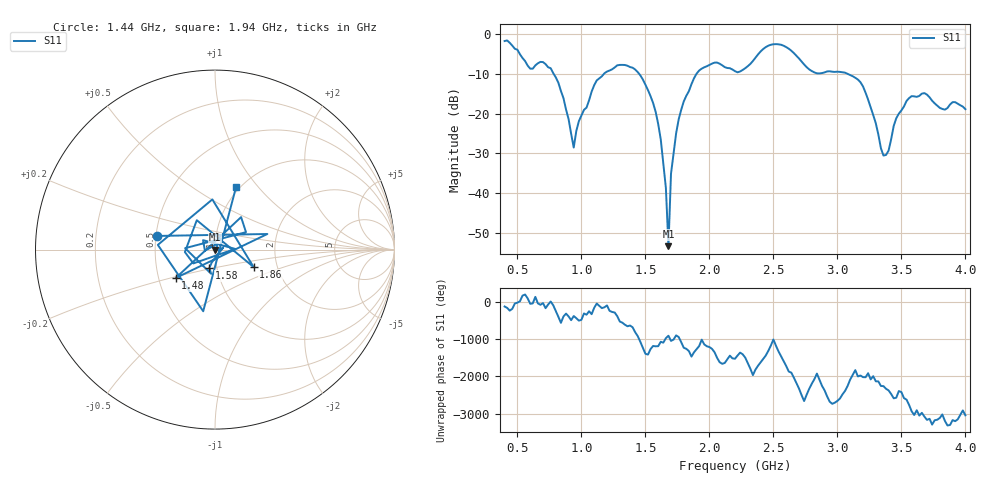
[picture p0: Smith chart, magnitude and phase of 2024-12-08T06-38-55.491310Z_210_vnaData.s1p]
!Created with skrf (http://scikit-rf.org).
# Hz S RI R 50.0
!freq ReS11 ImS11
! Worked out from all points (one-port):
!   181 points, 400 MHz to 4 GHz, reference 50 ohm
!   lowest |S11| = -53.4 dB at 1.68 GHz (marker M1), VSWR 1.00, Z = 49.8 + j0.00814 ohm
!   |S11| at or under -10 dB: 783.9 MHz to 1.175 GHz (391.4 MHz wide, 40 % of centre); 1.452 GHz to 1.898 GHz (446.7 MHz wide, 26.7 % of centre); 3.082 GHz to end of sweep
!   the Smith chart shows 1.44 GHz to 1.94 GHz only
!   S11 on the Smith chart (normalised r, x): 1.44 GHz: 0.50, +0.09; 1.48 GHz: 0.61, -0.21; 1.58 GHz: 0.92, -0.19; 1.86 GHz: 1.51, -0.31; 1.94 GHz: 0.96, +0.78
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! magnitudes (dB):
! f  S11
! 400 MHz  -1.7
! 600 MHz  -8.7
! 760 MHz  -8.5
! 860 MHz  -16.1
! 940 MHz  -28.5
! 980 MHz  -21.9
! 1.12 GHz  -11.6
! 1.3 GHz  -7.7
! 1.44 GHz  -9.5
! 1.48 GHz  -11.4
! 1.58 GHz  -19.5
! 1.62 GHz  -26.5
! 1.66 GHz  -38.7
! 1.68 GHz  -53.4
! 1.7 GHz  -35.1
! 1.76 GHz  -21.4
! 1.86 GHz  -12.6
! 1.94 GHz  -8.7
! 2.2 GHz  -9.3
! 2.48 GHz  -2.6
! 2.66 GHz  -4.7
! 2.82 GHz  -9.6
! 3.1 GHz  -10.3
! 3.2 GHz  -13.1
! 3.36 GHz  -30.5
! 3.46 GHz  -21.1
! 3.56 GHz  -16.1
! 4 GHz  -18.9
